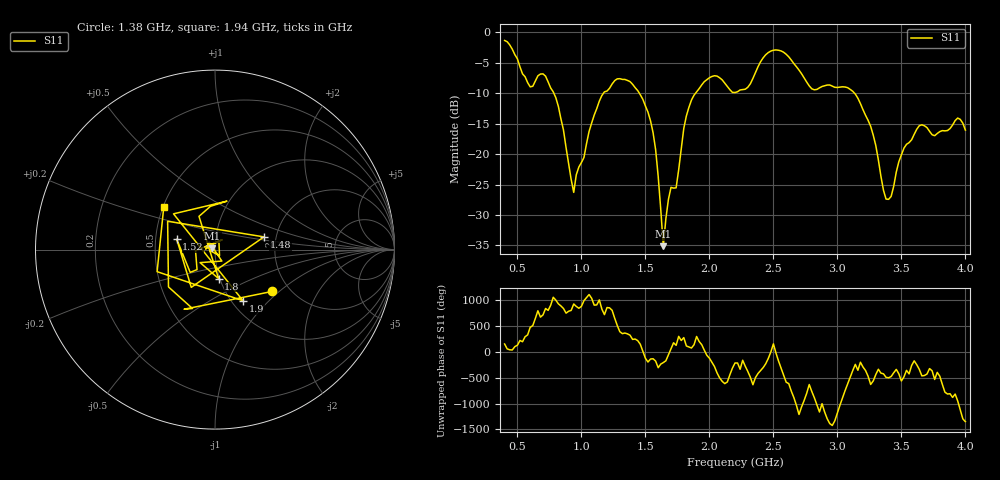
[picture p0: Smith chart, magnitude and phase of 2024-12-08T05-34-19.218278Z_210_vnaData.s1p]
!Created with skrf (http://scikit-rf.org).
# Hz S RI R 50.0
!freq ReS11 ImS11
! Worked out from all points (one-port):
!   181 points, 400 MHz to 4 GHz, reference 50 ohm
!   lowest |S11| = -35.1 dB at 1.64 GHz (marker M1), VSWR 1.04, Z = 48.4 + j0.745 ohm
!   |S11| at or under -10 dB: 784.8 MHz to 1.172 GHz (387.7 MHz wide, 39.6 % of centre); 1.453 GHz to 1.891 GHz (438.7 MHz wide, 26.2 % of centre); 3.134 GHz to end of sweep
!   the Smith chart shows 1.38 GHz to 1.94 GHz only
!   S11 on the Smith chart (normalised r, x): 1.38 GHz: 1.62, -0.90; 1.48 GHz: 1.72, +0.27; 1.52 GHz: 0.64, +0.08; 1.8 GHz: 0.99, -0.33; 1.9 GHz: 1.13, -0.72; 1.94 GHz: 0.51, +0.28
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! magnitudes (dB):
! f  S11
! 400 MHz  -1.3
! 600 MHz  -9.0
! 720 MHz  -7.2
! 860 MHz  -16.1
! 940 MHz  -26.3
! 1.14 GHz  -11.3
! 1.3 GHz  -7.6
! 1.38 GHz  -8.1
! 1.48 GHz  -11.0
! 1.52 GHz  -13.1
! 1.58 GHz  -19.3
! 1.64 GHz  -35.1
! 1.68 GHz  -27.4
! 1.76 GHz  -22.6
! 1.8 GHz  -15.8
! 1.9 GHz  -9.8
! 1.94 GHz  -8.6
! 2.06 GHz  -7.2
! 2.2 GHz  -9.9
! 2.48 GHz  -3.1
! 2.66 GHz  -5.1
! 2.8 GHz  -9.3
! 3.1 GHz  -9.4
! 3.26 GHz  -15.4
! 3.38 GHz  -27.4
! 3.56 GHz  -18.1
! 3.66 GHz  -15.2
! 4 GHz  -16.1
